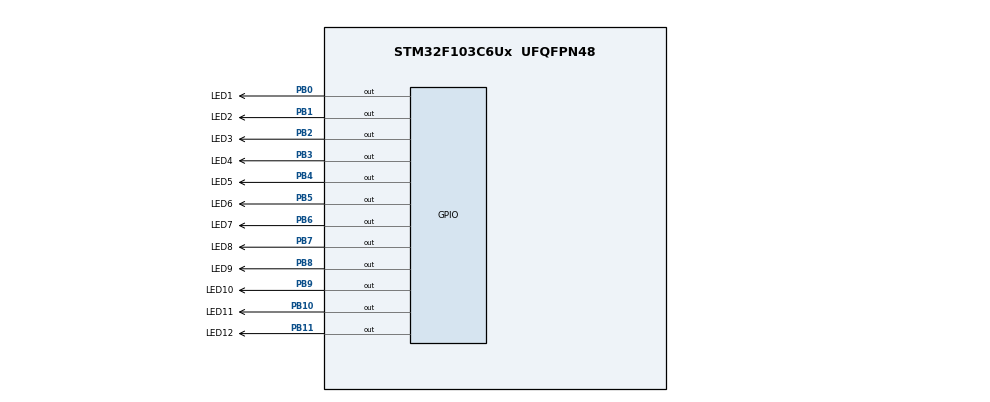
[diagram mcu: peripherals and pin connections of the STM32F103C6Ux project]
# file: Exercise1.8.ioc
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Mcu.Family=STM32F1
Mcu.Name=STM32F103C6Ux
Mcu.Package=UFQFPN48
NVIC.PriorityGroup=NVIC_PRIORITYGROUP_4
PB0.GPIO_Label=LED1
PB0.Signal=GPIO_Output
PB1.GPIO_Label=LED2
PB1.Signal=GPIO_Output
PB10.GPIO_Label=LED11
PB10.Signal=GPIO_Output
PB11.GPIO_Label=LED12
PB11.Signal=GPIO_Output
PB2.GPIO_Label=LED3
PB2.Signal=GPIO_Output
PB3.GPIO_Label=LED4
PB3.Signal=GPIO_Output
PB4.GPIO_Label=LED5
PB4.Signal=GPIO_Output
PB5.GPIO_Label=LED6
PB5.Signal=GPIO_Output
PB6.GPIO_Label=LED7
PB6.Signal=GPIO_Output
PB7.GPIO_Label=LED8
PB7.Signal=GPIO_Output
PB8.GPIO_Label=LED9
PB8.Signal=GPIO_Output
PB9.GPIO_Label=LED10
PB9.Signal=GPIO_Output
ProjectManager.HeapSize=0x200
ProjectManager.StackSize=0x400
ProjectManager.TargetToolchain=STM32CubeIDE
RCC.APB1Freq_Value=8000000
RCC.APB2Freq_Value=8000000
VP_SYS_VS_ND.Mode=No_Debug
board=custom

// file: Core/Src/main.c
/* USER CODE BEGIN Header */
/**
  ******************************************************************************
  * @file           : main.c
  * @brief          : Main program body
  ******************************************************************************
  * @attention
  *
  * <h2><center>&copy; Copyright (c) 2024 STMicroelectronics.
  * All rights reserved.</center></h2>
  *
  * This software component is licensed by ST under BSD 3-Clause license,
  * the "License"; You may not use this file except in compliance with the
  * License. You may obtain a copy of the License at:
  *                        opensource.org/licenses/BSD-3-Clause
  *
  ******************************************************************************
  */
/* USER CODE END Header */
#include "main.h"

void SystemClock_Config(void);
static void MX_GPIO_Init(void);

int main(void)
{

  /* MCU Configuration--------------------------------------------------------*/

  /* Reset of all peripherals, Initializes the Flash interface and the Systick. */
  HAL_Init();

  /* Configure the system clock */
  SystemClock_Config();

  /* Initialize all configured peripherals */
  MX_GPIO_Init();
  /* USER CODE BEGIN 2 */
	#define LED_COUNT 12
	GPIO_PinState LEDS[LED_COUNT] = {
		GPIO_PIN_0, GPIO_PIN_1, GPIO_PIN_2, GPIO_PIN_3,
		GPIO_PIN_4, GPIO_PIN_5, GPIO_PIN_6, GPIO_PIN_7,
		GPIO_PIN_8, GPIO_PIN_9, GPIO_PIN_10, GPIO_PIN_11};
	void testLed (int n) {
		HAL_GPIO_WritePin(GPIOA, GPIO_PIN_4 | GPIO_PIN_5 |
						GPIO_PIN_6 | GPIO_PIN_7 | GPIO_PIN_8 |
						GPIO_PIN_9 | GPIO_PIN_10 | GPIO_PIN_11 |
						GPIO_PIN_12 | GPIO_PIN_13 | GPIO_PIN_14 |
						GPIO_PIN_15, SET);
		HAL_GPIO_WritePin(GPIOA, ledPin[n], RESET);
	}
	void clearAllClock() {
		HAL_GPIO_WritePin(GPIOB, GPIO_PIN_0 | GPIO_PIN_1 | GPIO_PIN_2 | GPIO_PIN_3 |
				GPIO_PIN_4 | GPIO_PIN_5 | GPIO_PIN_6 | GPIO_PIN_7 |
				GPIO_PIN_8 | GPIO_PIN_9 | GPIO_PIN_10 | GPIO_PIN_11, RESET);
	}
	void setNumberOnClock(int num) {
		HAL_GPIO_WritePin(GPIOB, LEDS[num], SET);
	}
  /* USER CODE END 2 */

  /* Infinite loop */
  /* USER CODE BEGIN WHILE */
	int n = 0;
  while (1) {
	  clearAllClock();
	  testLed(n);
	  setNumberOnClock(4);
	  n++;
	  if(n >= 12) n = 0;
	  HAL_Delay(1000);
    /* USER CODE END WHILE */

  }
}

void SystemClock_Config(void)
{
  RCC_OscInitTypeDef RCC_OscInitStruct = {0};
  RCC_ClkInitTypeDef RCC_ClkInitStruct = {0};

  /** Initializes the RCC Oscillators according to the specified parameters
  * in the RCC_OscInitTypeDef structure.
  */
  RCC_OscInitStruct.OscillatorType = RCC_OSCILLATORTYPE_HSI;
  RCC_OscInitStruct.HSIState = RCC_HSI_ON;
  RCC_OscInitStruct.HSICalibrationValue = RCC_HSICALIBRATION_DEFAULT;
  RCC_OscInitStruct.PLL.PLLState = RCC_PLL_NONE;
  if (HAL_RCC_OscConfig(&RCC_OscInitStruct) != HAL_OK)
  {
    Error_Handler();
  }
  /** Initializes the CPU, AHB and APB buses clocks
  */
  RCC_ClkInitStruct.ClockType = RCC_CLOCKTYPE_HCLK|RCC_CLOCKTYPE_SYSCLK
                              |RCC_CLOCKTYPE_PCLK1|RCC_CLOCKTYPE_PCLK2;
  RCC_ClkInitStruct.SYSCLKSource = RCC_SYSCLKSOURCE_HSI;
  RCC_ClkInitStruct.AHBCLKDivider = RCC_SYSCLK_DIV1;
  RCC_ClkInitStruct.APB1CLKDivider = RCC_HCLK_DIV1;
  RCC_ClkInitStruct.APB2CLKDivider = RCC_HCLK_DIV1;

  if (HAL_RCC_ClockConfig(&RCC_ClkInitStruct, FLASH_LATENCY_0) != HAL_OK)
  {
    Error_Handler();
  }
}

static void MX_GPIO_Init(void)
{
  GPIO_InitTypeDef GPIO_InitStruct = {0};

  /* GPIO Ports Clock Enable */
  __HAL_RCC_GPIOB_CLK_ENABLE();

  /*Configure GPIO pin Output Level */
  HAL_GPIO_WritePin(GPIOB, LED1_Pin|LED2_Pin|LED3_Pin|LED11_Pin
                          |LED12_Pin|LED4_Pin|LED5_Pin|LED6_Pin
                          |LED7_Pin|LED8_Pin|LED9_Pin|LED10_Pin, GPIO_PIN_RESET);

  /*Configure GPIO pins : LED1_Pin LED2_Pin LED3_Pin LED11_Pin
                           LED12_Pin LED4_Pin LED5_Pin LED6_Pin
                           LED7_Pin LED8_Pin LED9_Pin LED10_Pin */
  GPIO_InitStruct.Pin = LED1_Pin|LED2_Pin|LED3_Pin|LED11_Pin
                          |LED12_Pin|LED4_Pin|LED5_Pin|LED6_Pin
                          |LED7_Pin|LED8_Pin|LED9_Pin|LED10_Pin;
  GPIO_InitStruct.Mode = GPIO_MODE_OUTPUT_PP;
  GPIO_InitStruct.Pull = GPIO_NOPULL;
  GPIO_InitStruct.Speed = GPIO_SPEED_FREQ_LOW;
  HAL_GPIO_Init(GPIOB, &GPIO_InitStruct);

}

void Error_Handler(void)
{
  __disable_irq();
  while (1)
  {
  }
}

/************************ (C) COPYRIGHT STMicroelectronics *****END OF FILE****/
